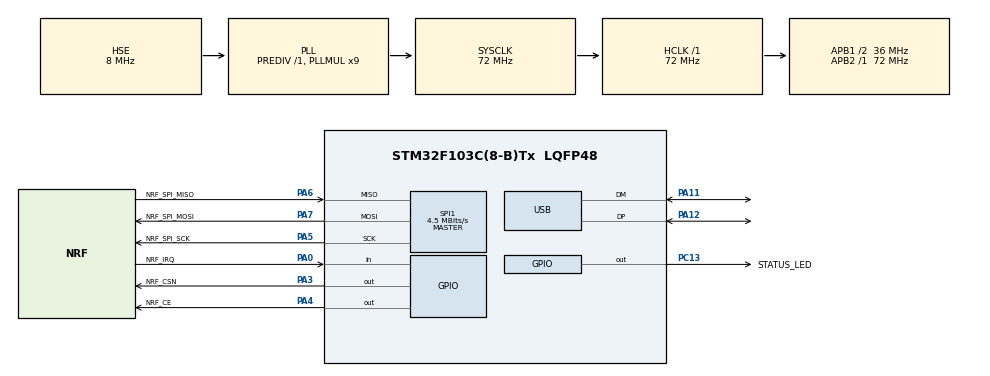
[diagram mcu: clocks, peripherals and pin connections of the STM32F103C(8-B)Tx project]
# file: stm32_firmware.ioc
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Mcu.Family=STM32F1
Mcu.Name=STM32F103C(8-B)Tx
Mcu.Package=LQFP48
NVIC.PriorityGroup=NVIC_PRIORITYGROUP_4
NVIC.USB_LP_CAN1_RX0_IRQn=true\:0\:0\:false\:false\:true\:false\:true
PA0-WKUP.GPIO_Label=NRF_IRQ
PA0-WKUP.Signal=GPIO_Input
PA11.Mode=Device
PA11.Signal=USB_DM
PA12.Mode=Device
PA12.Signal=USB_DP
PA13.Mode=Serial_Wire
PA13.Signal=SYS_JTMS-SWDIO
PA14.Mode=Serial_Wire
PA14.Signal=SYS_JTCK-SWCLK
PA3.GPIO_Label=NRF_CSN
PA3.Signal=GPIO_Output
PA4.GPIO_Label=NRF_CE
PA4.Signal=GPIO_Output
PA5.GPIO_Label=NRF_SPI_SCK
PA5.Mode=Full_Duplex_Master
PA5.Signal=SPI1_SCK
PA6.GPIO_Label=NRF_SPI_MISO
PA6.Mode=Full_Duplex_Master
PA6.Signal=SPI1_MISO
PA7.GPIO_Label=NRF_SPI_MOSI
PA7.Mode=Full_Duplex_Master
PA7.Signal=SPI1_MOSI
PC13-TAMPER-RTC.GPIO_Label=STATUS_LED
PC13-TAMPER-RTC.Signal=GPIO_Output
PD0-OSC_IN.Mode=HSE-External-Oscillator
PD0-OSC_IN.Signal=RCC_OSC_IN
PD1-OSC_OUT.Mode=HSE-External-Oscillator
PD1-OSC_OUT.Signal=RCC_OSC_OUT
ProjectManager.HeapSize=0x200
ProjectManager.StackSize=0x400
ProjectManager.TargetToolchain=Makefile
RCC.AHBFreq_Value=72000000
RCC.APB1CLKDivider=RCC_HCLK_DIV2
RCC.APB1Freq_Value=36000000
RCC.APB1TimFreq_Value=72000000
RCC.APB2Freq_Value=72000000
RCC.APB2TimFreq_Value=72000000
RCC.HCLKFreq_Value=72000000
RCC.PLLMUL=RCC_PLL_MUL9
RCC.PLLSourceVirtual=RCC_PLLSOURCE_HSE
RCC.SYSCLKFreq_VALUE=72000000
RCC.SYSCLKSource=RCC_SYSCLKSOURCE_PLLCLK
RCC.USBFreq_Value=48000000
RCC.USBPrescaler=RCC_USBCLKSOURCE_PLL_DIV1_5
SPI1.BaudRatePrescaler=SPI_BAUDRATEPRESCALER_16
SPI1.CalculateBaudRate=4.5 MBits/s
SPI1.Direction=SPI_DIRECTION_2LINES
SPI1.Mode=SPI_MODE_MASTER
SPI1.VirtualType=VM_MASTER
USB_DEVICE.CLASS_NAME_FS=HID
USB_DEVICE.MANUFACTURER_STRING=Shrinath's Controller
USB_DEVICE.VID=1155
USB_DEVICE.VirtualMode=Hid
USB_DEVICE.VirtualModeFS=Hid_FS
VP_USB_DEVICE_VS_USB_DEVICE_HID_FS.Mode=HID_FS
board=custom

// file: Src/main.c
/* USER CODE BEGIN Header */
/**
  ******************************************************************************
  * @file           : main.c
  * @brief          : Main program body
  ******************************************************************************
  * @attention
  *
  * <h2><center>&copy; Copyright (c) 2020 STMicroelectronics.
  * All rights reserved.</center></h2>
  *
  * This software component is licensed by ST under Ultimate Liberty license
  * SLA0044, the "License"; You may not use this file except in compliance with
  * the License. You may obtain a copy of the License at:
  *                             www.st.com/SLA0044
  *
  ******************************************************************************
  */
/* USER CODE END Header */

#include "main.h"
#include "usb_device.h"

/* USER CODE BEGIN Includes */
#include "NRF24L01.h"
/* USER CODE END Includes */

/* USER CODE BEGIN PTD */
extern USBD_HandleTypeDef hUsbDeviceFS;
/* USER CODE END PTD */

/* USER CODE BEGIN PM */
#define LED_OFF HAL_GPIO_WritePin(STATUS_LED_GPIO_Port, STATUS_LED_Pin, GPIO_PIN_SET)
#define LED_ON HAL_GPIO_WritePin(STATUS_LED_GPIO_Port, STATUS_LED_Pin, GPIO_PIN_RESET)
#define LED_TOGGLE HAL_GPIO_TogglePin(STATUS_LED_GPIO_Port, STATUS_LED_Pin)
#define CE_HIGH HAL_GPIO_WritePin(NRF_CE_GPIO_Port, NRF_CE_Pin, GPIO_PIN_SET)
#define CE_LOW HAL_GPIO_WritePin(NRF_CE_GPIO_Port, NRF_CE_Pin, GPIO_PIN_RESET)
/* USER CODE END PM */

SPI_HandleTypeDef hspi1;

void SystemClock_Config(void);
static void MX_GPIO_Init(void);
static void MX_SPI1_Init(void);

/* USER CODE BEGIN 0 */
/*
uint8_t USBD_HID_SendReport(USBD_HandleTypeDef  *pdev,
                            uint8_t *report,
                            uint16_t len)
*/
/* USER CODE END 0 */

int main(void)
{

  /* MCU Configuration--------------------------------------------------------*/

  /* Reset of all peripherals, Initializes the Flash interface and the Systick. */
  HAL_Init();

  /* Configure the system clock */
  SystemClock_Config();

  /* Initialize all configured peripherals */
  MX_GPIO_Init();
  MX_SPI1_Init();
  MX_USB_DEVICE_Init();
  /* USER CODE BEGIN 2 */
  HAL_Delay(1000);

  NRF_Init();
  NRF_SetAddressRx((BYTE[]){0x12,0x23,0x34}, 3, 0);
  NRF_WriteRegister(0x11, 3);
  NRF_SetMode(CONFIG_PWR_UP_UP);

  CE_HIGH;
  HAL_Delay(1);

  static BYTE buffer[3];
  BYTE a;
  BYTE b;
  /* USER CODE END 2 */

  /* Infinite loop */
  while (1)
  {
    /* USER CODE BEGIN 3 */
    while(HAL_GPIO_ReadPin(GPIOA, GPIO_PIN_0) == 1);
    a = NRF_ReadRegister(REG_STATUS);
    NRF_ReadRxFIFO(buffer, 3);
    NRF_WriteRegister(REG_STATUS, 0b01111111 & a);
    buffer[0] ^= 0xff;
    buffer[1] ^= 0xff;

    USBD_HID_SendReport(&hUsbDeviceFS, buffer, 2);
    LED_TOGGLE;
    /* USER CODE END WHILE */

    /* USER CODE BEGIN 3 */
  }
  /* USER CODE END 3 */
}

void SystemClock_Config(void)
{
  RCC_OscInitTypeDef RCC_OscInitStruct = {0};
  RCC_ClkInitTypeDef RCC_ClkInitStruct = {0};
  RCC_PeriphCLKInitTypeDef PeriphClkInit = {0};

  /** Initializes the CPU, AHB and APB busses clocks
  */
  RCC_OscInitStruct.OscillatorType = RCC_OSCILLATORTYPE_HSE;
  RCC_OscInitStruct.HSEState = RCC_HSE_ON;
  RCC_OscInitStruct.HSEPredivValue = RCC_HSE_PREDIV_DIV1;
  RCC_OscInitStruct.HSIState = RCC_HSI_ON;
  RCC_OscInitStruct.PLL.PLLState = RCC_PLL_ON;
  RCC_OscInitStruct.PLL.PLLSource = RCC_PLLSOURCE_HSE;
  RCC_OscInitStruct.PLL.PLLMUL = RCC_PLL_MUL9;
  if (HAL_RCC_OscConfig(&RCC_OscInitStruct) != HAL_OK)
  {
    Error_Handler();
  }
  /** Initializes the CPU, AHB and APB busses clocks
  */
  RCC_ClkInitStruct.ClockType = RCC_CLOCKTYPE_HCLK|RCC_CLOCKTYPE_SYSCLK
                              |RCC_CLOCKTYPE_PCLK1|RCC_CLOCKTYPE_PCLK2;
  RCC_ClkInitStruct.SYSCLKSource = RCC_SYSCLKSOURCE_PLLCLK;
  RCC_ClkInitStruct.AHBCLKDivider = RCC_SYSCLK_DIV1;
  RCC_ClkInitStruct.APB1CLKDivider = RCC_HCLK_DIV2;
  RCC_ClkInitStruct.APB2CLKDivider = RCC_HCLK_DIV1;

  if (HAL_RCC_ClockConfig(&RCC_ClkInitStruct, FLASH_LATENCY_2) != HAL_OK)
  {
    Error_Handler();
  }
  PeriphClkInit.PeriphClockSelection = RCC_PERIPHCLK_USB;
  PeriphClkInit.UsbClockSelection = RCC_USBCLKSOURCE_PLL_DIV1_5;
  if (HAL_RCCEx_PeriphCLKConfig(&PeriphClkInit) != HAL_OK)
  {
    Error_Handler();
  }
}

static void MX_SPI1_Init(void)
{

  /* SPI1 parameter configuration*/
  hspi1.Instance = SPI1;
  hspi1.Init.Mode = SPI_MODE_MASTER;
  hspi1.Init.Direction = SPI_DIRECTION_2LINES;
  hspi1.Init.DataSize = SPI_DATASIZE_8BIT;
  hspi1.Init.CLKPolarity = SPI_POLARITY_LOW;
  hspi1.Init.CLKPhase = SPI_PHASE_1EDGE;
  hspi1.Init.NSS = SPI_NSS_SOFT;
  hspi1.Init.BaudRatePrescaler = SPI_BAUDRATEPRESCALER_16;
  hspi1.Init.FirstBit = SPI_FIRSTBIT_MSB;
  hspi1.Init.TIMode = SPI_TIMODE_DISABLE;
  hspi1.Init.CRCCalculation = SPI_CRCCALCULATION_DISABLE;
  hspi1.Init.CRCPolynomial = 10;
  if (HAL_SPI_Init(&hspi1) != HAL_OK)
  {
    Error_Handler();
  }

}

static void MX_GPIO_Init(void)
{
  GPIO_InitTypeDef GPIO_InitStruct = {0};

  /* GPIO Ports Clock Enable */
  __HAL_RCC_GPIOC_CLK_ENABLE();
  __HAL_RCC_GPIOD_CLK_ENABLE();
  __HAL_RCC_GPIOA_CLK_ENABLE();

  /*Configure GPIO pin Output Level */
  HAL_GPIO_WritePin(STATUS_LED_GPIO_Port, STATUS_LED_Pin, GPIO_PIN_RESET);

  /*Configure GPIO pin Output Level */
  HAL_GPIO_WritePin(GPIOA, NRF_CE_Pin, GPIO_PIN_RESET);
  HAL_GPIO_WritePin(GPIOA, NRF_CSN_Pin, GPIO_PIN_SET);

  /*Configure GPIO pin : STATUS_LED_Pin */
  GPIO_InitStruct.Pin = STATUS_LED_Pin;
  GPIO_InitStruct.Mode = GPIO_MODE_OUTPUT_PP;
  GPIO_InitStruct.Pull = GPIO_NOPULL;
  GPIO_InitStruct.Speed = GPIO_SPEED_FREQ_LOW;
  HAL_GPIO_Init(STATUS_LED_GPIO_Port, &GPIO_InitStruct);

  /*Configure GPIO pin : NRF_IRQ_Pin */
  GPIO_InitStruct.Pin = NRF_IRQ_Pin;
  GPIO_InitStruct.Mode = GPIO_MODE_INPUT;
  GPIO_InitStruct.Pull = GPIO_NOPULL;
  HAL_GPIO_Init(NRF_IRQ_GPIO_Port, &GPIO_InitStruct);

  /*Configure GPIO pins : NRF_CSN_Pin NRF_CE_Pin */
  GPIO_InitStruct.Pin = NRF_CSN_Pin|NRF_CE_Pin;
  GPIO_InitStruct.Mode = GPIO_MODE_OUTPUT_PP;
  GPIO_InitStruct.Pull = GPIO_NOPULL;
  GPIO_InitStruct.Speed = GPIO_SPEED_FREQ_LOW;
  HAL_GPIO_Init(GPIOA, &GPIO_InitStruct);

}

void Error_Handler(void)
{
}

/************************ (C) COPYRIGHT STMicroelectronics *****END OF FILE****/
